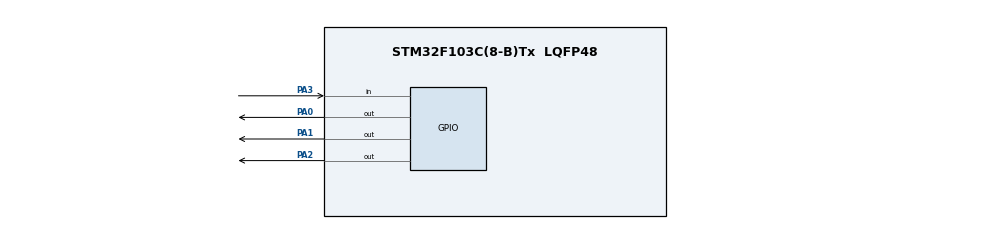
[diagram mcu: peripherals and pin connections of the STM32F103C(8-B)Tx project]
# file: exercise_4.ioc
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Mcu.Family=STM32F1
Mcu.Name=STM32F103C(8-B)Tx
Mcu.Package=LQFP48
NVIC.PriorityGroup=NVIC_PRIORITYGROUP_4
NVIC.TIM2_IRQn=true\:15\:0\:false\:false\:true\:false\:true\:true
NVIC.TimeBase=TIM2_IRQn
NVIC.TimeBaseIP=TIM2
PA0-WKUP.Signal=GPIO_Output
PA1.Signal=GPIO_Output
PA13.Mode=Serial_Wire
PA13.Signal=SYS_JTMS-SWDIO
PA14.Mode=Serial_Wire
PA14.Signal=SYS_JTCK-SWCLK
PA2.Signal=GPIO_Output
PA3.Signal=GPIO_Input
ProjectManager.HeapSize=0x200
ProjectManager.StackSize=0x400
ProjectManager.TargetToolchain=STM32CubeIDE
RCC.APB1Freq_Value=8000000
RCC.APB2Freq_Value=8000000
VP_SYS_VS_tim2.Mode=TIM2
board=custom

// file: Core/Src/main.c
/* USER CODE BEGIN Header */
/**
  ******************************************************************************
  * @file           : main.c
  * @brief          : Main program body
  ******************************************************************************
  * @attention
  *
  * Copyright (c) 2024 STMicroelectronics.
  * All rights reserved.
  *
  * This software is licensed under terms that can be found in the LICENSE file
  * in the root directory of this software component.
  * If no LICENSE file comes with this software, it is provided AS-IS.
  *
  ******************************************************************************
  */
/* USER CODE END Header */
#include "main.h"

/* USER CODE BEGIN Includes */
#include "FreeRTOS.h"
#include "task.h"
/* USER CODE END Includes */

/* USER CODE BEGIN PV */
    TaskHandle_t Task_1_handle =NULL, Task_2_handle= NULL, Task_3_handle =NULL, Task_4_handle=NULL, next_handle;

void Task_1_Handler(void * parameters)
{
	BaseType_t ret = pdFALSE;
	while(1)
	{
		HAL_GPIO_TogglePin(GPIOA, GPIO_PIN_0);
		ret = xTaskNotifyWait( 0, 0, NULL,pdMS_TO_TICKS(500));

		if(ret == pdTRUE)
		{
			HAL_GPIO_WritePin(GPIOA, GPIO_PIN_0, GPIO_PIN_SET);

			taskENTER_CRITICAL();
			next_handle = Task_2_handle;
			taskEXIT_CRITICAL();

			vTaskDelete( NULL);
		}
	}
}

void Task_2_Handler(void * parameters)
{
	BaseType_t ret = pdFALSE;
	while(1)
	{
		HAL_GPIO_TogglePin(GPIOA, GPIO_PIN_1);
		ret = xTaskNotifyWait( 0, 0, NULL,pdMS_TO_TICKS(500));

		if(ret == pdTRUE)
		{
			HAL_GPIO_WritePin(GPIOA, GPIO_PIN_1, GPIO_PIN_SET);

			taskENTER_CRITICAL();
			next_handle = Task_3_handle;
			taskEXIT_CRITICAL();

			vTaskDelete( NULL);
		}
	}
}

void Task_3_Handler(void * parameters)
{
	BaseType_t ret = pdFALSE;
	while(1)
	{
		HAL_GPIO_TogglePin(GPIOA, GPIO_PIN_2);
		ret = xTaskNotifyWait( 0, 0, NULL,pdMS_TO_TICKS(500));

		if(ret == pdTRUE)
		{
			HAL_GPIO_WritePin(GPIOA, GPIO_PIN_2, GPIO_PIN_SET);

			taskENTER_CRITICAL();
			next_handle = NULL;
			taskEXIT_CRITICAL();

			vTaskDelete( NULL);
		}
	}
}

void Task_4_Handler(void * parameters)
{
	GPIO_PinState state = GPIO_PIN_RESET;
	while(1)
	{
		state = HAL_GPIO_ReadPin(GPIOA, GPIO_PIN_3);
		if(state == GPIO_PIN_SET)
		{
			vTaskDelay( pdMS_TO_TICKS(20));

			state = HAL_GPIO_ReadPin(GPIOA, GPIO_PIN_3);
			if(state == GPIO_PIN_SET)
			{
				xTaskNotify(  next_handle, 0, eNoAction );
				do
				{
					state = HAL_GPIO_ReadPin(GPIOA, GPIO_PIN_3);
				}
				while(state == GPIO_PIN_SET);
			}
		}

		vTaskDelay( pdMS_TO_TICKS(20));
	}
}
/* USER CODE END PV */

void SystemClock_Config(void);
static void MX_GPIO_Init(void);

int main(void)
{

  /* MCU Configuration--------------------------------------------------------*/

  /* Reset of all peripherals, Initializes the Flash interface and the Systick. */
  HAL_Init();

  /* USER CODE BEGIN Init */
  	BaseType_t Task_return;
  /* USER CODE END Init */

  /* Configure the system clock */
  SystemClock_Config();

  /* Initialize all configured peripherals */
  MX_GPIO_Init();
  /* USER CODE BEGIN 2 */
  Task_return = xTaskCreate( Task_1_Handler, "Toggle_1", 100, NULL, 1, &Task_1_handle );
  Task_return = xTaskCreate( Task_2_Handler, "Toggle_1", 100, NULL, 2, &Task_2_handle );
  Task_return = xTaskCreate( Task_3_Handler, "Toggle_1", 100, NULL, 3, &Task_3_handle );
  Task_return = xTaskCreate( Task_4_Handler, "Button  ", 100, NULL, 3, &Task_4_handle );

  next_handle= Task_1_handle;

  vTaskStartScheduler();
  /* USER CODE END 2 */

  /* Infinite loop */
  while (1)
  {

  }
}

void SystemClock_Config(void)
{
  RCC_OscInitTypeDef RCC_OscInitStruct = {0};
  RCC_ClkInitTypeDef RCC_ClkInitStruct = {0};

  /** Initializes the RCC Oscillators according to the specified parameters
  * in the RCC_OscInitTypeDef structure.
  */
  RCC_OscInitStruct.OscillatorType = RCC_OSCILLATORTYPE_HSI;
  RCC_OscInitStruct.HSIState = RCC_HSI_ON;
  RCC_OscInitStruct.HSICalibrationValue = RCC_HSICALIBRATION_DEFAULT;
  RCC_OscInitStruct.PLL.PLLState = RCC_PLL_NONE;
  if (HAL_RCC_OscConfig(&RCC_OscInitStruct) != HAL_OK)
  {
    Error_Handler();
  }

  /** Initializes the CPU, AHB and APB buses clocks
  */
  RCC_ClkInitStruct.ClockType = RCC_CLOCKTYPE_HCLK|RCC_CLOCKTYPE_SYSCLK
                              |RCC_CLOCKTYPE_PCLK1|RCC_CLOCKTYPE_PCLK2;
  RCC_ClkInitStruct.SYSCLKSource = RCC_SYSCLKSOURCE_HSI;
  RCC_ClkInitStruct.AHBCLKDivider = RCC_SYSCLK_DIV1;
  RCC_ClkInitStruct.APB1CLKDivider = RCC_HCLK_DIV1;
  RCC_ClkInitStruct.APB2CLKDivider = RCC_HCLK_DIV1;

  if (HAL_RCC_ClockConfig(&RCC_ClkInitStruct, FLASH_LATENCY_0) != HAL_OK)
  {
    Error_Handler();
  }
}

static void MX_GPIO_Init(void)
{
  GPIO_InitTypeDef GPIO_InitStruct = {0};

  /* GPIO Ports Clock Enable */
  __HAL_RCC_GPIOA_CLK_ENABLE();

  /*Configure GPIO pin Output Level */
  HAL_GPIO_WritePin(GPIOA, GPIO_PIN_0|GPIO_PIN_1|GPIO_PIN_2, GPIO_PIN_RESET);

  /*Configure GPIO pins : PA0 PA1 PA2 */
  GPIO_InitStruct.Pin = GPIO_PIN_0|GPIO_PIN_1|GPIO_PIN_2;
  GPIO_InitStruct.Mode = GPIO_MODE_OUTPUT_PP;
  GPIO_InitStruct.Pull = GPIO_NOPULL;
  GPIO_InitStruct.Speed = GPIO_SPEED_FREQ_LOW;
  HAL_GPIO_Init(GPIOA, &GPIO_InitStruct);

  /*Configure GPIO pin : PA3 */
  GPIO_InitStruct.Pin = GPIO_PIN_3;
  GPIO_InitStruct.Mode = GPIO_MODE_INPUT;
  GPIO_InitStruct.Pull = GPIO_NOPULL;
  HAL_GPIO_Init(GPIOA, &GPIO_InitStruct);

}

void HAL_TIM_PeriodElapsedCallback(TIM_HandleTypeDef *htim)
{
  if (htim->Instance == TIM2) {
    HAL_IncTick();
  }
}

void Error_Handler(void)
{
  __disable_irq();
  while (1)
  {
  }
}
